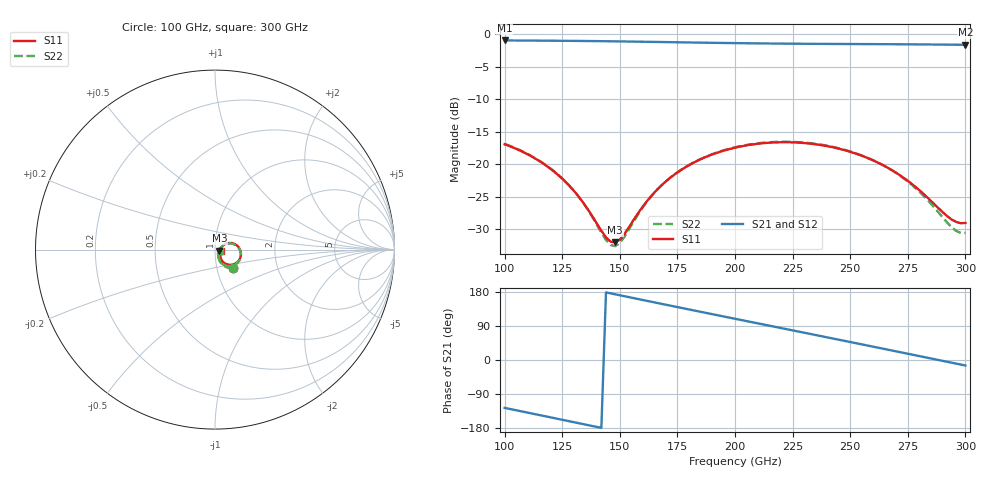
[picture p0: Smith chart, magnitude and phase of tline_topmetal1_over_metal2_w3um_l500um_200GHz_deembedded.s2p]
! Created with skrf 2.2.0 (http://scikit-rf.org).
# GHz S DB R 50.0
! Port[1] = P1
! Port[2] = P2
!freq dBS11 angS11 dBS21 angS21 dBS12 angS12 dBS22 angS22
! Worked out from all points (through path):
!   101 points, 100 GHz to 300 GHz, reference 50 ohm
!   highest |S21| = -0.92 dB at 100 GHz (marker M1); lowest = -1.6 dB at 300 GHz (marker M2)
!   group delay of S21, straight-line fit = 3.44 ps
!   lowest |S11| = -32.0 dB at 148 GHz (marker M3), VSWR 1.05, Z = 52.5 - j0.64 ohm
!   |S11| at or under -10 dB: start of sweep to end of sweep
!   |S22| runs from -32.6 to -16.5 dB; largest |S21 - S12| = 9.8e-14
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100  -16.91 -44.5  -0.92 -126.3  -0.92 -126.3  -16.86 -46.2
110  -18.46 -53.6  -0.94 -138.9  -0.94 -138.9  -18.41 -55.6
120  -20.71 -61.1  -0.96 -151.4  -0.96 -151.4  -20.67 -63.6
128  -23.27 -64.5  -0.98 -161.5  -0.98 -161.5  -23.25 -67.5
134  -25.85 -63.3  -1.00 -169.1  -1.00 -169.1  -25.88 -66.9
144  -31.24 -38.4  -1.04 178.4  -1.04 178.4  -31.65 -42.4
146  -31.91 -26.9  -1.05 175.9  -1.05 175.9  -32.43 -30.3
148  -32.04 -14.1  -1.06 173.4  -1.06 173.4  -32.61 -16.4
152  -30.74 8.1  -1.08 168.3  -1.08 168.3  -31.17 7.5
160  -26.50 26.5  -1.12 158.3  -1.12 158.3  -26.62 26.0
168  -23.27 28.1  -1.17 148.4  -1.17 148.4  -23.29 27.0
182  -19.75 20.1  -1.24 131.0  -1.24 131.0  -19.72 18.3
200  -17.44 4.3  -1.33 108.8  -1.33 108.8  -17.38 1.8
216  -16.65 -11.0  -1.40 89.2  -1.40 89.2  -16.58 -14.1
234  -16.87 -28.2  -1.44 67.1  -1.44 67.1  -16.80 -32.1
250  -18.08 -42.5  -1.47 47.5  -1.47 47.5  -18.02 -47.3
268  -20.88 -55.1  -1.50 25.2  -1.50 25.2  -20.90 -61.5
276  -22.81 -57.6  -1.52 15.3  -1.52 15.3  -22.94 -65.0
284  -25.28 -55.1  -1.54 5.3  -1.54 5.3  -25.65 -63.9
294  -28.49 -36.9  -1.57 -7.1  -1.57 -7.1  -29.68 -45.5
298  -29.07 -23.6  -1.59 -12.1  -1.59 -12.1  -30.58 -29.3
300  -29.04 -16.5  -1.59 -14.5  -1.59 -14.5  -30.57 -20.3
